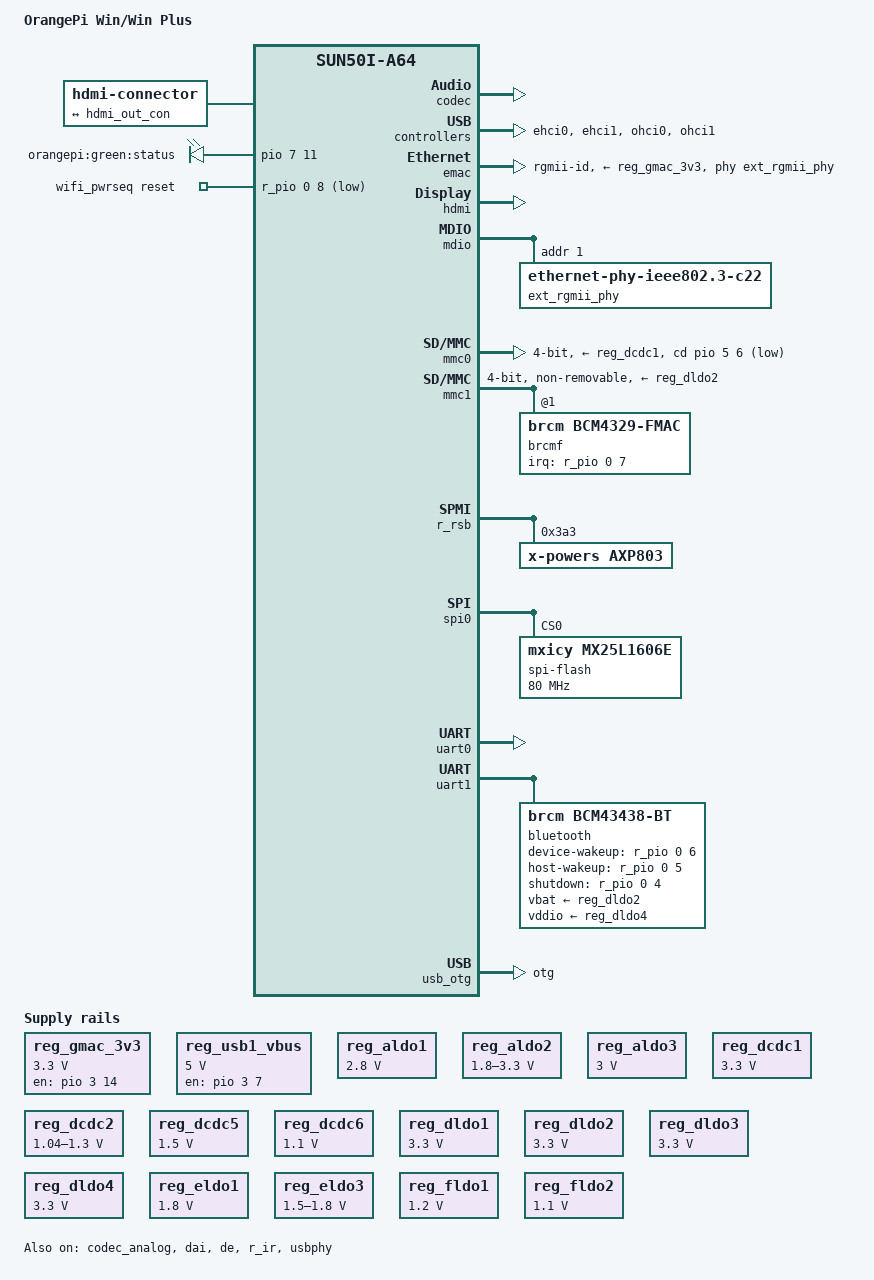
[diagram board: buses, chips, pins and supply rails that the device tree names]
// SPDX-License-Identifier: (GPL-2.0+ OR MIT)
// Copyright (C) 2017 Jagan Teki <jteki@openedev.com>
// Copyright (C) 2017-2018 Samuel Holland <samuel@sholland.org>

/dts-v1/;

#include "sun50i-a64.dtsi"
#include "sun50i-a64-cpu-opp.dtsi"

#include <dt-bindings/gpio/gpio.h>

/ {
	model = "OrangePi Win/Win Plus";
	compatible = "xunlong,orangepi-win", "allwinner,sun50i-a64";

	aliases {
		ethernet0 = &emac;
		serial0 = &uart0;
		serial1 = &uart1;
		serial2 = &uart2;
		serial3 = &uart3;
		serial4 = &uart4;
	};

	chosen {
		stdout-path = "serial0:115200n8";
	};

	hdmi-connector {
		compatible = "hdmi-connector";
		type = "a";

		port {
			hdmi_con_in: endpoint {
				remote-endpoint = <&hdmi_out_con>;
			};
		};
	};

	leds {
		compatible = "gpio-leds";

		led-0 {
			label = "orangepi:green:status";
			gpios = <&pio 7 11 GPIO_ACTIVE_HIGH>; /* PH11 */
		};
	};

	reg_gmac_3v3: gmac-3v3 {
		compatible = "regulator-fixed";
		regulator-name = "gmac-3v3";
		regulator-min-microvolt = <3300000>;
		regulator-max-microvolt = <3300000>;
		regulator-boot-on;
		enable-active-high;
		gpio = <&pio 3 14 GPIO_ACTIVE_HIGH>; /* PD14 */
		status = "okay";
	};

	reg_usb1_vbus: usb1-vbus {
		compatible = "regulator-fixed";
		regulator-name = "usb1-vbus";
		regulator-min-microvolt = <5000000>;
		regulator-max-microvolt = <5000000>;
		regulator-boot-on;
		enable-active-high;
		gpio = <&pio 3 7 GPIO_ACTIVE_HIGH>; /* PD7 */
		status = "okay";
	};

	wifi_pwrseq: wifi_pwrseq {
		compatible = "mmc-pwrseq-simple";
		reset-gpios = <&r_pio 0 8 GPIO_ACTIVE_LOW>; /* PL8 */
		clocks = <&rtc 1>;
		clock-names = "ext_clock";
	};
};

&codec {
	status = "okay";
};

&codec_analog {
	cpvdd-supply = <&reg_eldo1>;
	status = "okay";
};

&cpu0 {
	cpu-supply = <&reg_dcdc2>;
};

&cpu1 {
	cpu-supply = <&reg_dcdc2>;
};

&cpu2 {
	cpu-supply = <&reg_dcdc2>;
};

&cpu3 {
	cpu-supply = <&reg_dcdc2>;
};

&dai {
	status = "okay";
};

&de {
	status = "okay";
};

&ehci0 {
	status = "okay";
};

&ehci1 {
	status = "okay";
};

&emac {
	pinctrl-names = "default";
	pinctrl-0 = <&rgmii_pins>;
	phy-mode = "rgmii-id";
	phy-handle = <&ext_rgmii_phy>;
	phy-supply = <&reg_gmac_3v3>;
	status = "okay";
};

&hdmi {
	hvcc-supply = <&reg_dldo1>;
	status = "okay";
};

&hdmi_out {
	hdmi_out_con: endpoint {
		remote-endpoint = <&hdmi_con_in>;
	};
};

&mdio {
	ext_rgmii_phy: ethernet-phy@1 {
		compatible = "ethernet-phy-ieee802.3-c22";
		reg = <1>;
	};
};

&mmc0 {
	pinctrl-names = "default";
	pinctrl-0 = <&mmc0_pins>;
	vmmc-supply = <&reg_dcdc1>;
	cd-gpios = <&pio 5 6 GPIO_ACTIVE_LOW>; /* PF6 */
	disable-wp;
	bus-width = <4>;
	status = "okay";
};

&mmc1 {
	pinctrl-names = "default";
	pinctrl-0 = <&mmc1_pins>;
	vmmc-supply = <&reg_dldo2>;
	vqmmc-supply = <&reg_dldo4>;
	mmc-pwrseq = <&wifi_pwrseq>;
	bus-width = <4>;
	non-removable;
	status = "okay";

	brcmf: wifi@1 {
		reg = <1>;
		compatible = "brcm,bcm4329-fmac";
		interrupt-parent = <&r_pio>;
		interrupts = <0 7 IRQ_TYPE_LEVEL_LOW>; /* PL7 */
		interrupt-names = "host-wake";
	};
};

&ohci0 {
	status = "okay";
};

&ohci1 {
	status = "okay";
};

&r_ir {
	status = "okay";
};

&r_rsb {
	status = "okay";

	axp803: pmic@3a3 {
		compatible = "x-powers,axp803";
		reg = <0x3a3>;
		interrupt-parent = <&r_intc>;
		interrupts = <GIC_SPI 32 IRQ_TYPE_LEVEL_LOW>;
		x-powers,drive-vbus-en; /* set N_VBUSEN as output pin */
	};
};

#include "axp803.dtsi"

&ac_power_supply {
	status = "okay";
};

&battery_power_supply {
	status = "okay";
};

&reg_aldo1 {
	regulator-min-microvolt = <2800000>;
	regulator-max-microvolt = <2800000>;
	regulator-name = "afvcc-csi";
};

&reg_aldo2 {
	regulator-always-on;
	regulator-min-microvolt = <1800000>;
	regulator-max-microvolt = <3300000>;
	regulator-name = "vcc-pl";
};

&reg_aldo3 {
	regulator-always-on;
	regulator-min-microvolt = <3000000>;
	regulator-max-microvolt = <3000000>;
	regulator-name = "vcc-pll-avcc";
};

&reg_dcdc1 {
	regulator-always-on;
	regulator-min-microvolt = <3300000>;
	regulator-max-microvolt = <3300000>;
	regulator-name = "vcc-3v3";
};

&reg_dcdc2 {
	regulator-always-on;
	regulator-min-microvolt = <1040000>;
	regulator-max-microvolt = <1300000>;
	regulator-name = "vdd-cpux";
};

/* DCDC3 is polyphased with DCDC2 */

&reg_dcdc5 {
	regulator-always-on;
	regulator-min-microvolt = <1500000>;
	regulator-max-microvolt = <1500000>;
	regulator-name = "vcc-dram";
};

&reg_dcdc6 {
	regulator-always-on;
	regulator-min-microvolt = <1100000>;
	regulator-max-microvolt = <1100000>;
	regulator-name = "vdd-sys";
};

&reg_dldo1 {
	regulator-min-microvolt = <3300000>;
	regulator-max-microvolt = <3300000>;
	regulator-name = "vcc-hdmi-dsi";
};

&reg_dldo2 {
	regulator-min-microvolt = <3300000>;
	regulator-max-microvolt = <3300000>;
	regulator-name = "vcc-wifi";
};

&reg_dldo3 {
	regulator-min-microvolt = <3300000>;
	regulator-max-microvolt = <3300000>;
	regulator-name = "avdd-csi";
};

&reg_dldo4 {
	regulator-min-microvolt = <3300000>;
	regulator-max-microvolt = <3300000>;
	regulator-name = "vcc-wifi-io";
};

&reg_drivevbus {
	regulator-name = "usb0-vbus";
	status = "okay";
};

&reg_eldo1 {
	regulator-min-microvolt = <1800000>;
	regulator-max-microvolt = <1800000>;
	regulator-name = "cpvdd";
};

&reg_eldo3 {
	regulator-min-microvolt = <1500000>;
	regulator-max-microvolt = <1800000>;
	regulator-name = "dvdd-csi";
};

&reg_fldo1 {
	regulator-min-microvolt = <1200000>;
	regulator-max-microvolt = <1200000>;
	regulator-name = "vcc-1v2-hsic";
};

/*
 * The A64 chip cannot work without this regulator off, although
 * it seems to be only driving the AR100 core.
 * Maybe we don't still know well about CPUs domain.
 */
&reg_fldo2 {
	regulator-always-on;
	regulator-min-microvolt = <1100000>;
	regulator-max-microvolt = <1100000>;
	regulator-name = "vdd-cpus";
};

&reg_rtc_ldo {
	regulator-name = "vcc-rtc";
};

&simplefb_hdmi {
	vcc-hdmi-supply = <&reg_dldo1>;
};

&sound {
	status = "okay";
	simple-audio-card,widgets = "Headphone", "Headphone Jack",
				    "Microphone", "Microphone Jack",
				    "Microphone", "Onboard Microphone";
	simple-audio-card,routing =
			"Left DAC", "DACL",
			"Right DAC", "DACR",
			"ADCL", "Left ADC",
			"ADCR", "Right ADC",
			"Headphone Jack", "HP",
			"MIC2", "Microphone Jack",
			"Onboard Microphone", "MBIAS",
			"MIC1", "Onboard Microphone";
};

&spi0 {
	status = "okay";

	spi-flash@0 {
		compatible = "mxicy,mx25l1606e", "jedec,spi-nor";
		reg = <0>;
		spi-max-frequency = <80000000>;
		m25p,fast-read;
		status = "okay";
	};
};

/* On debug connector */
&uart0 {
	pinctrl-names = "default";
	pinctrl-0 = <&uart0_pb_pins>;
	status = "okay";
};

/* Bluetooth */
&uart1 {
	pinctrl-names = "default";
	pinctrl-0 = <&uart1_pins>, <&uart1_rts_cts_pins>;
	uart-has-rtscts;
	status = "okay";

	bluetooth {
		compatible = "brcm,bcm43438-bt";
		max-speed = <1500000>;
		clocks = <&rtc 1>;
		clock-names = "lpo";
		vbat-supply = <&reg_dldo2>;
		vddio-supply = <&reg_dldo4>;
		device-wakeup-gpios = <&r_pio 0 6 GPIO_ACTIVE_HIGH>; /* PL6 */
		host-wakeup-gpios = <&r_pio 0 5 GPIO_ACTIVE_HIGH>; /* PL5 */
		shutdown-gpios = <&r_pio 0 4 GPIO_ACTIVE_HIGH>; /* PL4 */
	};
};

/* On Pi-2 connector, RTS/CTS optional */
&uart2 {
	pinctrl-names = "default";
	pinctrl-0 = <&uart2_pins>;
	status = "disabled";
};

/* On Pi-2 connector, RTS/CTS optional */
&uart3 {
	pinctrl-names = "default";
	pinctrl-0 = <&uart3_pins>;
	status = "disabled";
};

/* On Pi-2 connector (labeled for SPI1), RTS/CTS optional */
&uart4 {
	pinctrl-names = "default";
	pinctrl-0 = <&uart4_pins>;
	status = "disabled";
};

&usb_otg {
	dr_mode = "otg";
	status = "okay";
};

&usbphy {
	usb0_id_det-gpios = <&pio 7 9 GPIO_ACTIVE_HIGH>; /* PH9 */
	usb0_vbus-supply = <&reg_drivevbus>;
	usb1_vbus-supply = <&reg_usb1_vbus>;
	status = "okay";
};
